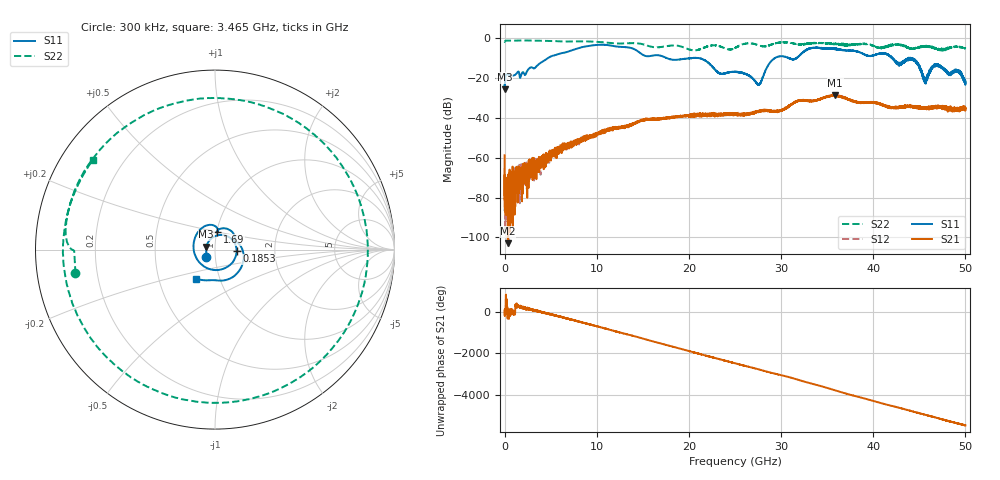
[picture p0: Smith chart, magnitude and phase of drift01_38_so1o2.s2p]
!Created with skrf (http://scikit-rf.org).
# Hz S RI R 50.0
!freq ReS11 ImS11 ReS21 ImS21 ReS12 ImS12 ReS22 ImS22
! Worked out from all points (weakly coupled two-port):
!   10001 points, 300 kHz to 50 GHz, reference 50 ohm
!   highest |S21| = -28.76 dB at 35.88 GHz (marker M1); lowest = -103.0 dB at 355.3 MHz (marker M2)
!   lowest |S11| = -25.8 dB at 5.3 MHz (marker M3), VSWR 1.11, Z = 45.3 + j1.4 ohm
!   |S11| at or under -10 dB: start of sweep to 4.764 GHz; 17.51 GHz to 29.4 GHz (11.9 GHz wide, 50.7 % of centre); 44.02 GHz to end of sweep (the widest 3 of 14)
!   |S22| runs from -6.5 to -1.4 dB; largest |S21 - S12| = 0.0042
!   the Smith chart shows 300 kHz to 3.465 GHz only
!   S11 on the Smith chart (normalised r, x): 300 kHz: 0.90, -0.08; 185.3 MHz: 1.27, -0.02; 1.69 GHz: 1.00, +0.20; 3.465 GHz: 0.77, -0.26
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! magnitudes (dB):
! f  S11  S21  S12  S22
! 300 kHz  -23.8  -58.8  -65.4  -2.1
! 5.3 MHz  -25.8  -81.0  -86.6  -2.1
! 185.3 MHz  -18.4  -88.6  -78.8  -1.4
! 355.3 MHz  -18.4  -103.0  -79.2  -1.4
! 1.69 GHz  -20.1  -67.1  -66.6  -1.4
! 3.465 GHz  -14.3  -66.5  -65.0  -1.5
! 8.335 GHz  -4.8  -51.1  -49.8  -1.8
! 16.67 GHz  -8.7  -40.7  -40.6  -4.8
! 21.18 GHz  -10.3  -38.5  -38.7  -5.9
! 23.37 GHz  -17.8  -38.5  -38.3  -4.4
! 25 GHz  -17.0  -37.8  -38.6  -5.1
! 27.59 GHz  -23.6  -36.8  -36.6  -3.8
! 29.28 GHz  -10.3  -36.7  -36.7  -2.9
! 31.45 GHz  -10.7  -32.4  -32.5  -3.0
! 33.34 GHz  -5.1  -31.6  -31.5  -2.7
! 35.88 GHz  -5.4  -28.8  -29.0  -3.1
! 41.67 GHz  -8.8  -34.2  -34.8  -4.0
! 42.8 GHz  -13.2  -34.8  -34.7  -3.6
! 44.41 GHz  -11.5  -34.6  -34.3  -5.4
! 45.63 GHz  -22.6  -34.7  -35.2  -4.3
! 46.9 GHz  -13.5  -34.2  -35.0  -5.4
! 50 GHz  -21.8  -36.1  -34.8  -5.4
